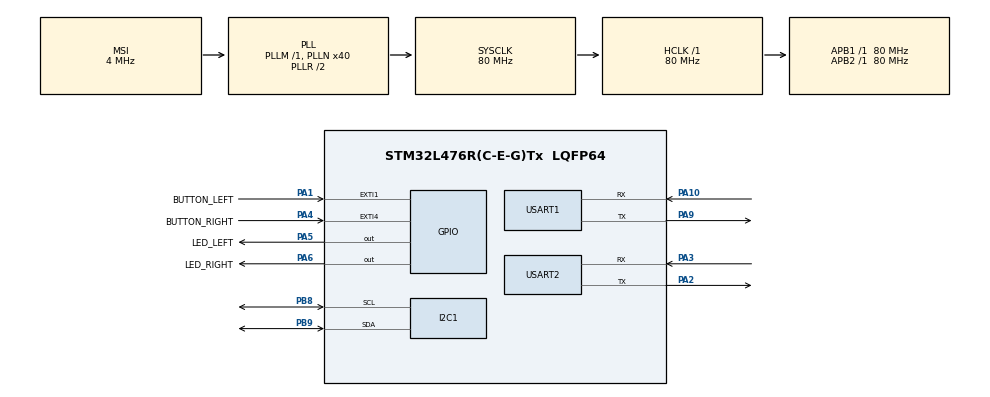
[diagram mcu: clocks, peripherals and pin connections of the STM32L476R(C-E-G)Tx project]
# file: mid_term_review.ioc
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I2C1.Timing=0x10D19CE4
Mcu.Family=STM32L4
Mcu.Name=STM32L476R(C-E-G)Tx
Mcu.Package=LQFP64
NVIC.EXTI1_IRQn=true\:0\:0\:false\:false\:true\:true\:true\:true
NVIC.EXTI4_IRQn=true\:0\:0\:false\:false\:true\:true\:true\:true
NVIC.PriorityGroup=NVIC_PRIORITYGROUP_4
NVIC.USART1_IRQn=true\:0\:0\:false\:false\:true\:true\:true\:true
NVIC.USART2_IRQn=true\:0\:0\:false\:false\:true\:true\:true\:true
PA1.GPIO_Label=BUTTON_LEFT
PA1.Signal=GPXTI1
PA10.Mode=Asynchronous
PA10.Signal=USART1_RX
PA2.Mode=Asynchronous
PA2.Signal=USART2_TX
PA3.Mode=Asynchronous
PA3.Signal=USART2_RX
PA4.GPIO_Label=BUTTON_RIGHT
PA4.Signal=GPXTI4
PA5.GPIO_Label=LED_LEFT
PA5.PinState=GPIO_PIN_SET
PA5.Signal=GPIO_Output
PA6.GPIO_Label=LED_RIGHT
PA6.PinState=GPIO_PIN_SET
PA6.Signal=GPIO_Output
PA9.Mode=Asynchronous
PA9.Signal=USART1_TX
PB8.Mode=I2C
PB8.Signal=I2C1_SCL
PB9.Mode=I2C
PB9.Signal=I2C1_SDA
ProjectManager.HeapSize=0x200
ProjectManager.StackSize=0x400
ProjectManager.TargetToolchain=STM32CubeIDE
RCC.AHBFreq_Value=80000000
RCC.APB1Freq_Value=80000000
RCC.APB1TimFreq_Value=80000000
RCC.APB2Freq_Value=80000000
RCC.APB2TimFreq_Value=80000000
RCC.CortexFreq_Value=80000000
RCC.HCLKFreq_Value=80000000
RCC.HSE_VALUE=8000000
RCC.HSI_VALUE=16000000
RCC.LSE_VALUE=32768
RCC.MSI_VALUE=4000000
RCC.PLLN=40
RCC.SYSCLKFreq_VALUE=80000000
RCC.SYSCLKSource=RCC_SYSCLKSOURCE_PLLCLK
RCC.VCOOutputFreq_Value=160000000
USART1.VirtualMode-Asynchronous=VM_ASYNC
USART2.VirtualMode-Asynchronous=VM_ASYNC
board=custom

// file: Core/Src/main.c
/* USER CODE BEGIN Header */
/**
  ******************************************************************************
  * @file           : main.c
  * @brief          : Main program body
  ******************************************************************************
  * @attention
  *
  * Copyright (c) 2024 STMicroelectronics.
  * All rights reserved.
  *
  * This software is licensed under terms that can be found in the LICENSE file
  * in the root directory of this software component.
  * If no LICENSE file comes with this software, it is provided AS-IS.
  *
  ******************************************************************************
  */
/* USER CODE END Header */
#include "main.h"

/* USER CODE BEGIN Includes */
#include "ring_buffer.h"
#include "ssd1306.h"
#include "ssd1306_fonts.h"
/* USER CODE END Includes */

I2C_HandleTypeDef hi2c1;

UART_HandleTypeDef huart1;
UART_HandleTypeDef huart2;

/* USER CODE BEGIN PV */
uint8_t data;
#define CED "1056120378"
#define NAME "Felipe Fernandez"
char id[sizeof(CED)]={0};
char name[sizeof(NAME)]={0};
uint8_t name_index=0;
uint8_t id_index=0;

#define CAPACITY_USART1 10
uint8_t mem_usart1[CAPACITY_USART1];
ring_buffer_t rb_usart1;

#define CAPACITY_USART2 10
uint8_t mem_usart2[CAPACITY_USART2];
ring_buffer_t rb_usart2;
/* USER CODE END PV */

void SystemClock_Config(void);
static void MX_GPIO_Init(void);
static void MX_USART2_UART_Init(void);
static void MX_USART1_UART_Init(void);
static void MX_I2C1_Init(void);

/* USER CODE BEGIN 0 */
void HAL_UART_RxCpltCallback(UART_HandleTypeDef *huart){
	if(huart -> Instance == USART1){
		ring_buffer_write(&rb_usart1,data);
		HAL_UART_Receive_IT(&huart1, &data, 1);
	}
	if(huart -> Instance == USART2){
		ring_buffer_write(&rb_usart2,data);
		HAL_UART_Receive_IT(&huart2, &data, 1);

	}
}
	//poner codigo aqui para que no se borre
void HAL_GPIO_EXTI_Callback(uint16_t GPIO_Pin){
	}
/* USER CODE END 0 */

int main(void)
{

  /* MCU Configuration--------------------------------------------------------*/

  /* Reset of all peripherals, Initializes the Flash interface and the Systick. */
  HAL_Init();

  /* Configure the system clock */
  SystemClock_Config();

  /* Initialize all configured peripherals */
  MX_GPIO_Init();
  MX_USART2_UART_Init();
  MX_USART1_UART_Init();
  MX_I2C1_Init();
  /* USER CODE BEGIN 2 */
  ssd1306_Init();
  ssd1306_Fill(White);
  ssd1306_SetCursor(10,20);
  ssd1306_WriteString("Hola mundo", Font_6x8, Black);
  ssd1306_UpdateScreen();

  ring_buffer_init(&rb_usart1, mem_usart1, CAPACITY_USART1);
  ring_buffer_init(&rb_usart2, mem_usart2, CAPACITY_USART2);
  /* USER CODE END 2 */

  /* Infinite loop */
  /* USER CODE BEGIN WHILE */
  HAL_UART_Receive_IT(&huart1, &data, 1);
  HAL_UART_Receive_IT(&huart2, &data, 1);
  while (1)
  {
	  uint8_t byte=0;
	  	  if(ring_buffer_read(&rb_usart2,&byte) != 0){
	  		  id[id_index++] = byte;
	  		  if(id_index==strlen(CED)){
	  		      HAL_UART_Transmit(&huart2, (uint8_t*)NAME, strlen(NAME), 100);
	  		      HAL_UART_Transmit(&huart2, (uint8_t*)"\r\n", 2, 100);
//	  		      ssd1306_WriteString("Felipe Fernandez",Font_6x8,Black);
//	  		      ssd1306_UpdateScreen();
	  		      id_index=0;  //reset
	  		  }
	  	  }
	  	  if(ring_buffer_read(&rb_usart1,&byte)!=0){
	  		  name[name_index++]=byte;
	  		  if(name_index==strlen(NAME)){
	  			  HAL_UART_Transmit(&huart1,(uint8_t*)CED,strlen(CED),100);
	  			  HAL_UART_Transmit(&huart1,(uint8_t*)"\r\n",2,100);
	  			  name_index=0;
	  		  }
	  	  }
    /* USER CODE END WHILE */

  }
}

void SystemClock_Config(void)
{
  RCC_OscInitTypeDef RCC_OscInitStruct = {0};
  RCC_ClkInitTypeDef RCC_ClkInitStruct = {0};

  /** Configure the main internal regulator output voltage
  */
  if (HAL_PWREx_ControlVoltageScaling(PWR_REGULATOR_VOLTAGE_SCALE1) != HAL_OK)
  {
    Error_Handler();
  }

  /** Initializes the RCC Oscillators according to the specified parameters
  * in the RCC_OscInitTypeDef structure.
  */
  RCC_OscInitStruct.OscillatorType = RCC_OSCILLATORTYPE_MSI;
  RCC_OscInitStruct.MSIState = RCC_MSI_ON;
  RCC_OscInitStruct.MSICalibrationValue = 0;
  RCC_OscInitStruct.MSIClockRange = RCC_MSIRANGE_6;
  RCC_OscInitStruct.PLL.PLLState = RCC_PLL_ON;
  RCC_OscInitStruct.PLL.PLLSource = RCC_PLLSOURCE_MSI;
  RCC_OscInitStruct.PLL.PLLM = 1;
  RCC_OscInitStruct.PLL.PLLN = 40;
  RCC_OscInitStruct.PLL.PLLP = RCC_PLLP_DIV7;
  RCC_OscInitStruct.PLL.PLLQ = RCC_PLLQ_DIV2;
  RCC_OscInitStruct.PLL.PLLR = RCC_PLLR_DIV2;
  if (HAL_RCC_OscConfig(&RCC_OscInitStruct) != HAL_OK)
  {
    Error_Handler();
  }

  /** Initializes the CPU, AHB and APB buses clocks
  */
  RCC_ClkInitStruct.ClockType = RCC_CLOCKTYPE_HCLK|RCC_CLOCKTYPE_SYSCLK
                              |RCC_CLOCKTYPE_PCLK1|RCC_CLOCKTYPE_PCLK2;
  RCC_ClkInitStruct.SYSCLKSource = RCC_SYSCLKSOURCE_PLLCLK;
  RCC_ClkInitStruct.AHBCLKDivider = RCC_SYSCLK_DIV1;
  RCC_ClkInitStruct.APB1CLKDivider = RCC_HCLK_DIV1;
  RCC_ClkInitStruct.APB2CLKDivider = RCC_HCLK_DIV1;

  if (HAL_RCC_ClockConfig(&RCC_ClkInitStruct, FLASH_LATENCY_4) != HAL_OK)
  {
    Error_Handler();
  }
}

static void MX_I2C1_Init(void)
{

  hi2c1.Instance = I2C1;
  hi2c1.Init.Timing = 0x10D19CE4;
  hi2c1.Init.OwnAddress1 = 0;
  hi2c1.Init.AddressingMode = I2C_ADDRESSINGMODE_7BIT;
  hi2c1.Init.DualAddressMode = I2C_DUALADDRESS_DISABLE;
  hi2c1.Init.OwnAddress2 = 0;
  hi2c1.Init.OwnAddress2Masks = I2C_OA2_NOMASK;
  hi2c1.Init.GeneralCallMode = I2C_GENERALCALL_DISABLE;
  hi2c1.Init.NoStretchMode = I2C_NOSTRETCH_DISABLE;
  if (HAL_I2C_Init(&hi2c1) != HAL_OK)
  {
    Error_Handler();
  }

  /** Configure Analogue filter
  */
  if (HAL_I2CEx_ConfigAnalogFilter(&hi2c1, I2C_ANALOGFILTER_ENABLE) != HAL_OK)
  {
    Error_Handler();
  }

  /** Configure Digital filter
  */
  if (HAL_I2CEx_ConfigDigitalFilter(&hi2c1, 0) != HAL_OK)
  {
    Error_Handler();
  }

}

static void MX_USART1_UART_Init(void)
{

  huart1.Instance = USART1;
  huart1.Init.BaudRate = 115200;
  huart1.Init.WordLength = UART_WORDLENGTH_8B;
  huart1.Init.StopBits = UART_STOPBITS_1;
  huart1.Init.Parity = UART_PARITY_NONE;
  huart1.Init.Mode = UART_MODE_TX_RX;
  huart1.Init.HwFlowCtl = UART_HWCONTROL_NONE;
  huart1.Init.OverSampling = UART_OVERSAMPLING_16;
  huart1.Init.OneBitSampling = UART_ONE_BIT_SAMPLE_DISABLE;
  huart1.AdvancedInit.AdvFeatureInit = UART_ADVFEATURE_NO_INIT;
  if (HAL_UART_Init(&huart1) != HAL_OK)
  {
    Error_Handler();
  }

}

static void MX_USART2_UART_Init(void)
{

  huart2.Instance = USART2;
  huart2.Init.BaudRate = 115200;
  huart2.Init.WordLength = UART_WORDLENGTH_8B;
  huart2.Init.StopBits = UART_STOPBITS_1;
  huart2.Init.Parity = UART_PARITY_NONE;
  huart2.Init.Mode = UART_MODE_TX_RX;
  huart2.Init.HwFlowCtl = UART_HWCONTROL_NONE;
  huart2.Init.OverSampling = UART_OVERSAMPLING_16;
  huart2.Init.OneBitSampling = UART_ONE_BIT_SAMPLE_DISABLE;
  huart2.AdvancedInit.AdvFeatureInit = UART_ADVFEATURE_NO_INIT;
  if (HAL_UART_Init(&huart2) != HAL_OK)
  {
    Error_Handler();
  }

}

static void MX_GPIO_Init(void)
{
  GPIO_InitTypeDef GPIO_InitStruct = {0};

  /* GPIO Ports Clock Enable */
  __HAL_RCC_GPIOA_CLK_ENABLE();
  __HAL_RCC_GPIOB_CLK_ENABLE();

  /*Configure GPIO pin Output Level */
  HAL_GPIO_WritePin(GPIOA, LED_LEFT_Pin|LED_RIGHT_Pin, GPIO_PIN_SET);

  /*Configure GPIO pins : BUTTON_LEFT_Pin BUTTON_RIGHT_Pin */
  GPIO_InitStruct.Pin = BUTTON_LEFT_Pin|BUTTON_RIGHT_Pin;
  GPIO_InitStruct.Mode = GPIO_MODE_IT_RISING;
  GPIO_InitStruct.Pull = GPIO_NOPULL;
  HAL_GPIO_Init(GPIOA, &GPIO_InitStruct);

  /*Configure GPIO pins : LED_LEFT_Pin LED_RIGHT_Pin */
  GPIO_InitStruct.Pin = LED_LEFT_Pin|LED_RIGHT_Pin;
  GPIO_InitStruct.Mode = GPIO_MODE_OUTPUT_PP;
  GPIO_InitStruct.Pull = GPIO_NOPULL;
  GPIO_InitStruct.Speed = GPIO_SPEED_FREQ_LOW;
  HAL_GPIO_Init(GPIOA, &GPIO_InitStruct);

  /* EXTI interrupt init*/
  HAL_NVIC_SetPriority(EXTI1_IRQn, 0, 0);
  HAL_NVIC_EnableIRQ(EXTI1_IRQn);

  HAL_NVIC_SetPriority(EXTI4_IRQn, 0, 0);
  HAL_NVIC_EnableIRQ(EXTI4_IRQn);

}

void Error_Handler(void)
{
  __disable_irq();
  while (1)
  {
  }
}
